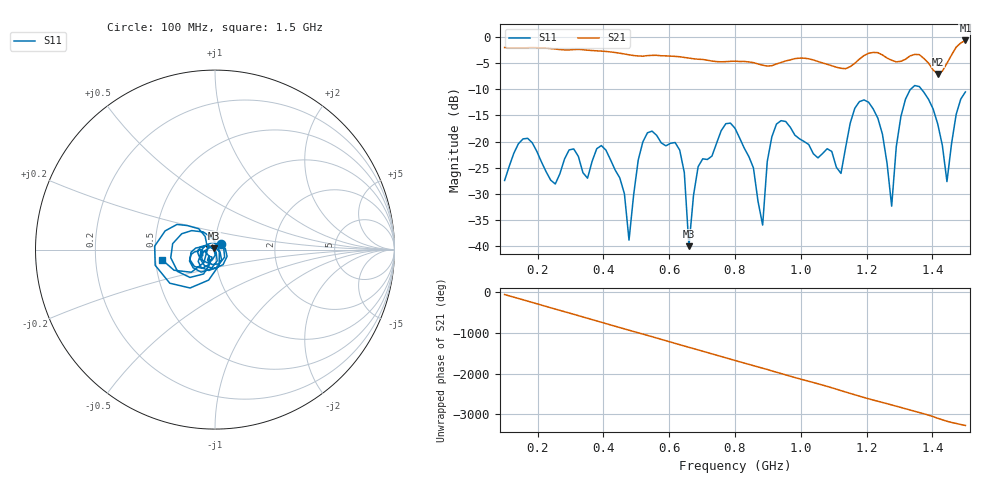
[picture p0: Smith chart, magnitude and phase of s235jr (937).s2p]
! NanoVNA-App
! Date: 2025-09-25 15:11:28
! Start: 100MHz Stop: 1,5GHz Points: 101
! S-Parameter data: F S11 S21 S12 S22
# Hz S RI R 50
!  Frequency  S11_Real  S11_Imag  S21_Real  S21_Imag  S12_Real  S12_Imag  S22_Real  S22_Imag
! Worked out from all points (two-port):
!   101 points, 100 MHz to 1.5 GHz, reference 50 ohm
!   highest |S21| = -0.61 dB at 1.5 GHz (marker M1); lowest = -7.0 dB at 1.416 GHz (marker M2)
!   |S21| within 3 dB of the highest: start of sweep to 514.8 MHz; 522 MHz to 602.1 MHz (80.04 MHz wide, 14.2 % of centre) (the widest 2 of 5)
!   lowest |S11| = -40.1 dB at 660 MHz (marker M3), VSWR 1.02, Z = 49.3 + j0.638 ohm
!   |S11| at or under -10 dB: start of sweep to 1.333 GHz; 1.367 GHz to end of sweep
!   S12 and S22 are empty: the file has one direction only
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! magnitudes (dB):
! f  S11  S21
! 100 MHz  -27.5  -2.0
! 170 MHz  -19.4  -2.0
! 338 MHz  -26.0  -2.4
! 408 MHz  -21.7  -2.7
! 478 MHz  -38.9  -3.4
! 520 MHz  -20.1  -3.6
! 576 MHz  -20.3  -3.5
! 632 MHz  -21.6  -3.7
! 660 MHz  -40.1  -4.0
! 688 MHz  -24.8  -4.2
! 800 MHz  -17.5  -4.6
! 884 MHz  -36.0  -5.4
! 926 MHz  -16.6  -5.1
! 1.038 GHz  -22.3  -4.3
! 1.122 GHz  -26.1  -5.9
! 1.206 GHz  -12.5  -3.1
! 1.276 GHz  -32.4  -4.4
! 1.304 GHz  -15.2  -4.6
! 1.332 GHz  -10.1  -3.6
! 1.416 GHz  -16.6  -7.0
! 1.444 GHz  -27.7  -5.0
! 1.5 GHz  -10.5  -0.6
